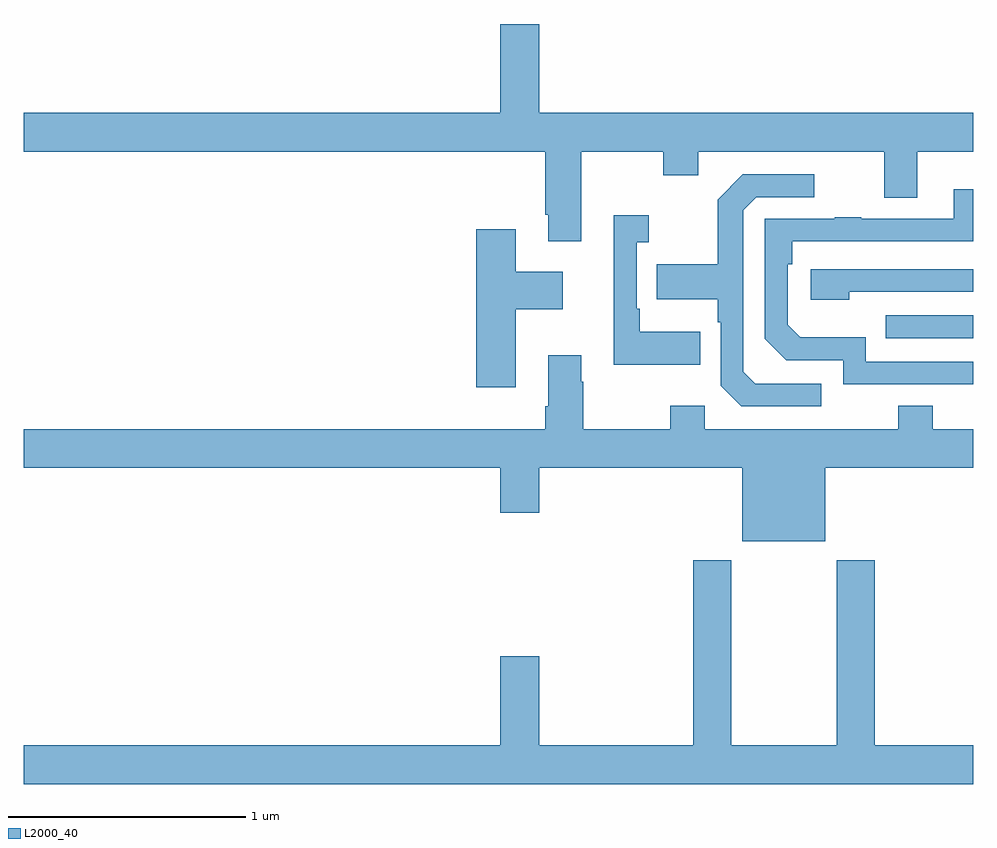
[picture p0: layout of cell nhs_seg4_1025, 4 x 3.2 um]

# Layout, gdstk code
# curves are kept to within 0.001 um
import gdstk
lib = gdstk.Library(unit=1e-6, precision=1e-09)
def R(c, l, rs):  # rectangles x0, y0, x1, y1
    for r in rs: c.add(gdstk.rectangle(r[:2], r[2:], *l))
def P(c, l, *ps):  # polygons
    for p in ps: c.add(gdstk.Polygon(p, *l))
L2000_40 = (2000, 40)

nhs_seg4_1025 = lib.new_cell('nhs_seg4_1025')
R(nhs_seg4_1025, L2000_40, [(166.633,817.347,167,817.443)])
P(nhs_seg4_1025, L2000_40, [(165.349,818.132),(165.694,818.132),(165.694,818.033),(165.841,818.033),(165.841,818.132),(166.625,818.132),(166.625,817.938),(166.765,817.938),(166.765,818.132),(167,818.132),(167,818.296),(165.172,818.296),(165.172,818.671),(165.008,818.671),(165.008,818.296),(163,818.296),(163,818.132),(165.197,818.132),(165.197,817.867),(165.209,817.867),(165.209,817.755),(165.349,817.755)],
  [(166.36,817.155),(166.083,817.155),(166.032,817.206),(166.032,817.887),(166.086,817.941),(166.33,817.941),(166.33,818.037),(166.029,818.037),(165.924,817.931),(165.924,817.659),(165.667,817.659),(165.667,817.511),(165.924,817.511),(165.924,817.415),(165.936,817.415),(165.936,817.146),(166.023,817.059),(166.36,817.059)],
  [(167,817.248),(166.548,817.248),(166.548,817.351),(166.271,817.351),(166.218,817.404),(166.218,817.658),(166.238,817.658),(166.238,817.755),(167,817.756),(167,817.975),(166.919,817.975),(166.919,817.851),(166.529,817.851),(166.529,817.856),(166.417,817.856),(166.417,817.851),(166.122,817.851),(166.122,817.344),(166.212,817.254),(166.452,817.254),(166.452,817.152),(167,817.152)],
  [(165.851,817.375),(165.595,817.375),(165.595,817.471),(165.582,817.471),(165.582,817.751),(165.634,817.751),(165.634,817.864),(165.485,817.864),(165.485,817.235),(165.851,817.235)],
  [(165.073,817.469),(165.271,817.469),(165.271,817.627),(165.073,817.627),(165.073,817.807),(164.906,817.807),(164.906,817.14),(165.073,817.14)],
  [(166.478,817.542),(167,817.542),(167,817.638),(166.317,817.638),(166.317,817.508),(166.478,817.508)],
  [(166.378,816.8),(167,816.8),(167,816.964),(166.831,816.964),(166.831,817.063),(166.684,817.063),(166.684,816.964),(165.87,816.964),(165.87,817.063),(165.724,817.063),(165.724,816.964),(165.357,816.964),(165.357,817.163),(165.349,817.163),(165.349,817.276),(165.209,817.276),(165.209,817.06),(165.197,817.06),(165.197,816.964),(163,816.964),(163,816.8),(165.008,816.8),(165.008,816.612),(165.172,816.612),(165.172,816.8),(166.028,816.8),(166.028,816.491),(166.378,816.491)],
  [(167,815.632),(166.586,815.632),(166.586,816.412),(166.426,816.412),(166.426,815.632),(165.981,815.632),(165.981,816.412),(165.821,816.412),(165.821,815.632),(165.172,815.632),(165.172,816.007),(165.008,816.007),(165.008,815.632),(163,815.632),(163,815.468),(167,815.468)])

lib.write_gds('nhs_seg4_1025.gds')
